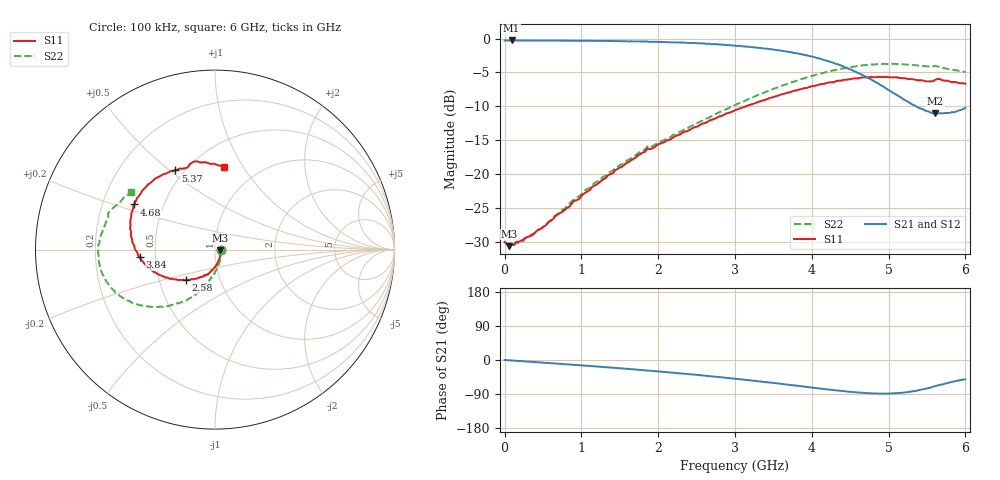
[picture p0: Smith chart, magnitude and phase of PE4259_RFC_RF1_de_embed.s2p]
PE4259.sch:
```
<Qucs Schematic 0.0.19>
<Properties>
  <View=0,0,800,800,1,0,0>
  <Grid=10,10,1>
  <DataSet=PE4259.dat>
  <DataDisplay=PE4259.dpl>
  <OpenDisplay=1>
  <Script=PE4259.m>
  <RunScript=0>
  <showFrame=0>
  <FrameText0=Title>
  <FrameText1=Drawn By:>
  <FrameText2=Date:>
  <FrameText3=Revision:>
</Properties>
<Symbol>
  <.PortSym 40 20 1 0>
  <.PortSym 40 60 2 0>
  <.PortSym 40 100 3 0>
</Symbol>
<Components>
  <Port P1 1 80 140 -23 12 0 0 "1" 1 "analog" 0>
  <Port P2 1 500 140 4 -36 0 2 "2" 1 "analog" 0>
  <Port P3 1 500 240 4 -36 0 2 "3" 1 "analog" 0>
  <SPfile RFC_RF1 1 290 140 -26 -45 0 0 "PE4259_RFC_RF1_de_embed.s2p" 1 "rectangular" 0 "linear" 0 "open" 0 "2" 0>
  <GND * 1 290 200 0 0 0 0>
  <SPfile X3 1 150 410 -26 -45 0 0 "test.s2p" 1 "rectangular" 0 "linear" 0 "open" 0 "2" 0>
  <SPfile X2 1 290 280 -26 -45 0 0 "test.s1p" 1 "rectangular" 0 "linear" 0 "open" 0 "2" 0>
</Components>
<Wires>
  <80 140 260 140 "" 0 0 0 "">
  <320 140 500 140 "" 0 0 0 "">
  <290 170 290 200 "" 0 0 0 "">
</Wires>
<Diagrams>
</Diagrams>
<Paintings>
</Paintings>
```
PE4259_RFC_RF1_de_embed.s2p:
! Created Fri Oct 06 15:03:57 2006
# hz S ma R 50
! 2 Port Network Data from SP1.SP block
! freq  magS11  angS11  magS21  angS21  magS12  angS12  magS22  angS22
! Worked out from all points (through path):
!   201 points, 100 kHz to 6 GHz, reference 50 ohm
!   highest |S21| = -0.28 dB at 90.1 MHz (marker M1); lowest = -11.0 dB at 5.61 GHz (marker M2)
!   group delay of S21, straight-line fit = 41.5 ps
!   lowest |S11| = -30.6 dB at 60.1 MHz (marker M3), VSWR 1.06, Z = 53 - j0.322 ohm
!   |S11| at or under -10 dB: start of sweep to 3.139 GHz
!   |S22| runs from -30.6 to -3.7 dB; largest |S21 - S12| = 0.0089
!   S11 on the Smith chart (normalised r, x): 100 kHz: 1.07, -0.00; 2.58 GHz: 0.68, -0.25; 3.84 GHz: 0.41, -0.04; 4.68 GHz: 0.34, +0.23; 5.37 GHz: 0.45, +0.52; 6 GHz: 0.70, +0.83
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100000  0.03161 -1.5  0.9685 0.0  0.9683 0.0  0.03159 -1.5
6.0099e7  0.0295 -5.9  0.968 -0.8  0.9683 -0.8  0.0294 -5.4
9.00985e7  0.03004 -7.7  0.9685 -1.3  0.9679 -1.3  0.02996 -7.0
1.410076e9  0.1014 -92.2  0.9602 -20.3  0.9608 -20.3  0.106 -83.0
2.580057e9  0.2358 -133.7  0.9217 -40.8  0.9197 -40.7  0.249 -110.6
3.00005e9  0.2963 -146.4  0.8865 -49.5  0.8864 -49.5  0.3234 -119.1
3.840036e9  0.4209 -174.2  0.7708 -68.7  0.7668 -68.5  0.497 -140.6
4.680022e9  0.5171 150.9  0.532 -86.8  0.5335 -86.2  0.6343 -165.5
5.37001e9  0.4939 116.7  0.3131 -81.1  0.3177 -80.6  0.6349 169.8
5.610006e9  0.4974 106.3  0.2803 -68.5  0.2836 -68.9  0.6295 161.4
6e9  0.4645 83.6  0.3076 -50.8  0.306 -50.9  0.5656 145.4
